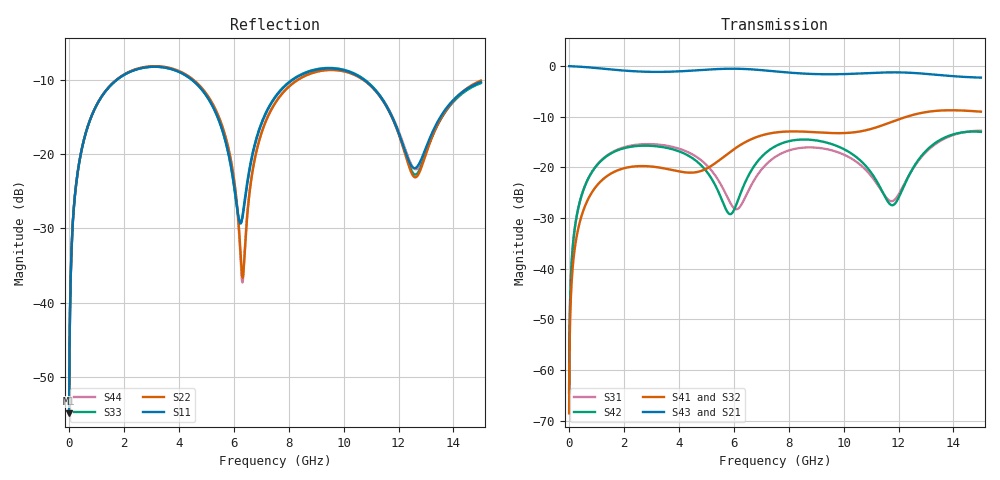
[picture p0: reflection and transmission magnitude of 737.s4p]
! Created with skrf 1.8.0 (http://scikit-rf.org).
# GHz S RI R 50.0
!freq ReS11 ImS11 ReS12 ImS12 ReS13 ImS13
! ReS14 ImS14
! ReS21 ImS21 ReS22 ImS22 ReS23 ImS23
! ReS24 ImS24
! ReS31 ImS31 ReS32 ImS32 ReS33 ImS33
! ReS34 ImS34
! ReS41 ImS41 ReS42 ImS42 ReS43 ImS43
! ReS44 ImS44
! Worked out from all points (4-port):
!   2499 points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, 5 MHz to 15 GHz, reference 50 ohm
!   strongest paths, dB at 5 MHz, 3.476 GHz, 7.19 GHz, 11.1 GHz, 15 GHz:
!     S43: 0.0, -1.1, -0.9, -1.3, -2.3
!     S21: 0.0, -1.1, -0.9, -1.3, -2.3
!     S41: -68.6, -20.2, -13.4, -12.3, -9.0
!     S32: -68.6, -20.3, -13.5, -12.3, -9.0
!     S42: -64.5, -16.1, -17.0, -21.8, -13.0
!     S31: -64.5, -15.6, -19.3, -22.4, -12.7
!   lowest |S11| = -54.9 dB at 5 MHz (marker M1), VSWR 1.00, Z = 50.1 + j0.108 ohm
!   |S11| at or under -10 dB: start of sweep to 1.735 GHz; 4.486 GHz to 8.142 GHz (3.656 GHz wide, 57.9 % of centre); 10.75 GHz to end of sweep
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0.005  0.00143 0.00108  0.9985 -0.00278  7.21e-05 0.000592  -6.98e-05 -0.000367
       0.9985 -0.00278  0.00143 0.00108  -6.98e-05 -0.000367  7.19e-05 0.000592
       7.21e-05 0.000592  -6.98e-05 -0.000367  0.00143 0.00108  0.9985 -0.00278
       -6.98e-05 -0.000367  7.19e-05 0.000592  0.9985 -0.00278  0.00143 0.00108
0.3126303  0.019 0.072  0.974 -0.1739  0.00915 0.0356  -0.00738 -0.022
           0.974 -0.1739  0.0191 0.072  -0.00738 -0.022  0.00864 0.0357
           0.00915 0.0356  -0.00738 -0.022  0.019 0.072  0.974 -0.1739
           -0.00738 -0.022  0.00864 0.0357  0.974 -0.1739  0.0191 0.072
1.569404  0.2298 0.1884  0.628 -0.6784  0.1223 0.0706  -0.0861 -0.019
          0.628 -0.6784  0.2322 0.1873  -0.086 -0.0191  0.1146 0.0791
          0.1223 0.0706  -0.086 -0.0191  0.2299 0.1884  0.6281 -0.6784
          -0.0861 -0.019  0.1146 0.0791  0.6281 -0.6784  0.2321 0.1873
4.995832  0.1782 -0.1743  -0.6737 -0.6287  0.0241 -0.1037  -0.0428 0.0868
          -0.6737 -0.6287  0.1703 -0.1913  -0.044 0.0857  0.0736 -0.0558
          0.0241 -0.1037  -0.044 0.0857  0.1776 -0.1737  -0.674 -0.6288
          -0.0428 0.0868  0.0736 -0.0558  -0.674 -0.6288  0.1694 -0.1905
6.290121  0.0344 0.008  -0.9369 -0.0652  -0.032 0.0293  -0.00595 0.1694
          -0.9369 -0.0652  0.0145 -0.00729  -0.00849 0.1692  0.0444 0.0391
          -0.032 0.0293  -0.00849 0.1692  0.0349 0.00973  -0.937 -0.0649
          -0.00595 0.1694  0.0444 0.0391  -0.937 -0.0649  0.0135 -0.00575
10.22301  0.3428 -0.1006  0.1799 0.819  0.0826 -0.094  0.1981 -0.0954
          0.1799 0.819  0.3405 -0.0901  0.1991 -0.0884  0.085 -0.112
          0.0826 -0.094  0.1991 -0.0884  0.3442 -0.1063  0.1782 0.8186
          0.1981 -0.0954  0.085 -0.112  0.1782 0.8186  0.3431 -0.0839
15  0.2985 0.0661  0.4293 -0.6365  0.2298 -0.019  -0.3346 -0.1186
    0.4293 -0.6365  0.3024 0.0812  -0.3292 -0.1296  0.2243 0.00196
    0.2298 -0.019  -0.3292 -0.1296  0.2928 0.0695  0.4342 -0.6359
    -0.3346 -0.1186  0.2243 0.00196  0.4342 -0.6359  0.2968 0.0745
